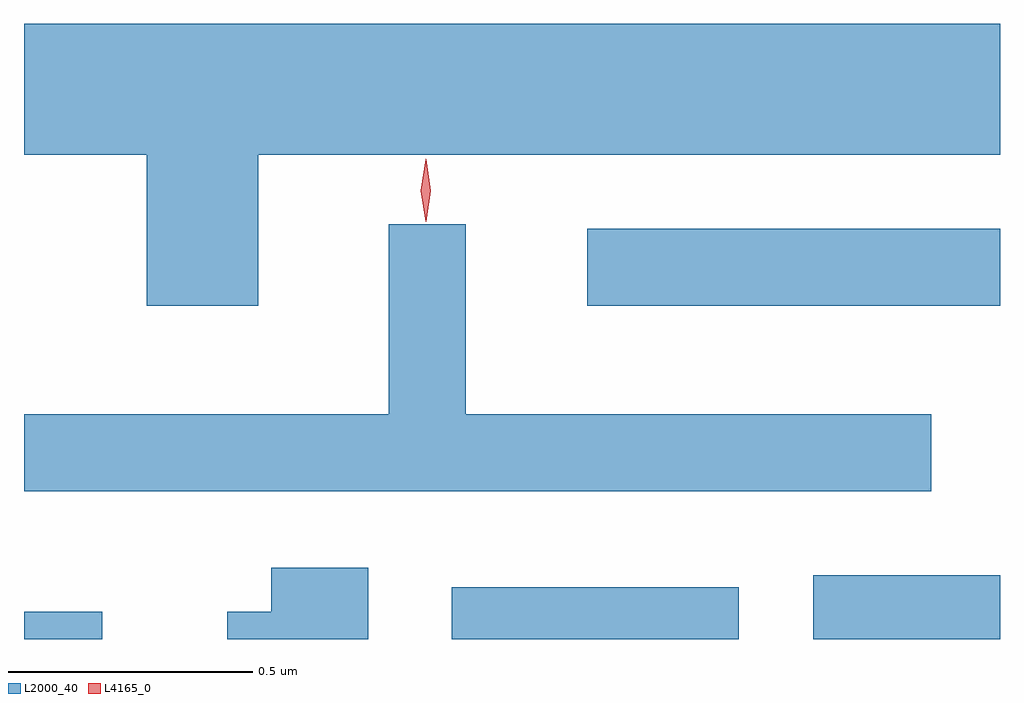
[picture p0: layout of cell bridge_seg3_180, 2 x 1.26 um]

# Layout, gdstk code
import gdstk
lib = gdstk.Library(unit=1e-6, precision=1e-09)
def R(c, l, rs):  # rectangles x0, y0, x1, y1
    for r in rs: c.add(gdstk.rectangle(r[:2], r[2:], *l))
def P(c, l, *ps):  # polygons
    for p in ps: c.add(gdstk.Polygon(p, *l))
L2000_40 = (2000, 40)
L4165_0 = (4165, 0)

bridge_seg3_180 = lib.new_cell('bridge_seg3_180')
R(bridge_seg3_180, L2000_40, [(760.169,1171.643,760.329,1171.699), (761.046,1171.643,761.634,1171.749), (761.786,1171.643,762.169,1171.774), (761.323,1172.326,762.169,1172.484)])
P(bridge_seg3_180, L2000_40, [(760.649,1172.636),(762.169,1172.636),(762.169,1172.904),(760.169,1172.904),(760.169,1172.636),(760.421,1172.636),(760.421,1172.326),(760.649,1172.326)],
  [(762.028,1172.104),(761.074,1172.104),(761.074,1172.493),(760.916,1172.493),(760.916,1172.104),(760.169,1172.104),(760.169,1171.946),(762.028,1171.946)],
  [(760.874,1171.789),(760.676,1171.789),(760.676,1171.699),(760.586,1171.699),(760.586,1171.643),(760.874,1171.643)])
P(bridge_seg3_180, L4165_0, [(760.992,1172.498),(760.992,1172.498),(760.982,1172.562),(760.992,1172.626),(760.992,1172.627),(760.993,1172.626),(761.002,1172.562),(760.993,1172.498)])

lib.write_gds('bridge_seg3_180.gds')
